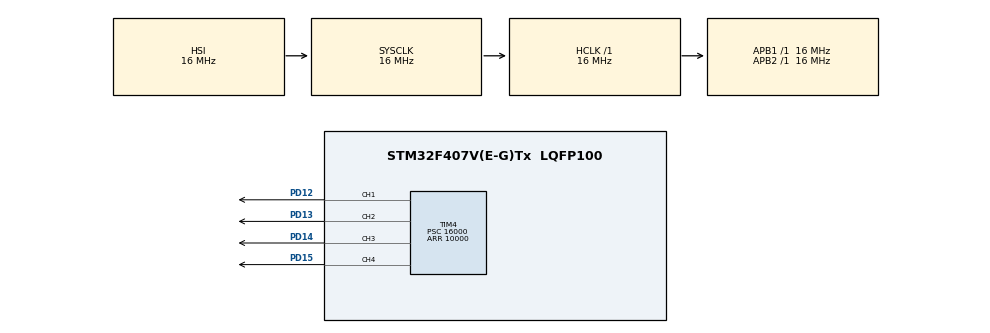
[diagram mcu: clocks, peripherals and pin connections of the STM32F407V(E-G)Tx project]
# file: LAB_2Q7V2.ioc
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Mcu.Family=STM32F4
Mcu.Name=STM32F407V(E-G)Tx
Mcu.Package=LQFP100
NVIC.PriorityGroup=NVIC_PRIORITYGROUP_4
NVIC.TIM4_IRQn=true\:0\:0\:false\:false\:true\:true\:true\:true
PD12.Signal=S_TIM4_CH1
PD13.Signal=S_TIM4_CH2
PD14.Signal=S_TIM4_CH3
PD15.Signal=S_TIM4_CH4
ProjectManager.HeapSize=0x200
ProjectManager.StackSize=0x400
ProjectManager.TargetToolchain=STM32CubeIDE
RCC.AHBFreq_Value=16000000
RCC.APB1Freq_Value=16000000
RCC.APB2Freq_Value=16000000
RCC.CortexFreq_Value=16000000
RCC.HSE_VALUE=25000000
RCC.HSI_VALUE=16000000
RCC.LSE_VALUE=32768
RCC.SYSCLKFreq_VALUE=16000000
RCC.VCOOutputFreq_Value=192000000
SH.S_TIM4_CH1.0=TIM4_CH1,Output Compare1 CH1
SH.S_TIM4_CH2.0=TIM4_CH2,Output Compare2 CH2
SH.S_TIM4_CH3.0=TIM4_CH3,Output Compare3 CH3
SH.S_TIM4_CH4.0=TIM4_CH4,Output Compare4 CH4
TIM4.Channel-Output\ Compare1\ CH1=TIM_CHANNEL_1
TIM4.Channel-Output\ Compare2\ CH2=TIM_CHANNEL_2
TIM4.Channel-Output\ Compare3\ CH3=TIM_CHANNEL_3
TIM4.Channel-Output\ Compare4\ CH4=TIM_CHANNEL_4
TIM4.OCMode_1=TIM_OCMODE_TOGGLE
TIM4.OCMode_2=TIM_OCMODE_TOGGLE
TIM4.OCMode_3=TIM_OCMODE_TOGGLE
TIM4.OCMode_4=TIM_OCMODE_TOGGLE
TIM4.Period=10000
TIM4.Prescaler=16000
TIM4.Pulse-Output\ Compare1\ CH1=250
TIM4.Pulse-Output\ Compare2\ CH2=500
TIM4.Pulse-Output\ Compare3\ CH3=750
TIM4.Pulse-Output\ Compare4\ CH4=1000
TIM4.TIM_MasterOutputTrigger=TIM_TRGO_OC1
VP_TIM4_VS_ClockSourceINT.Mode=Internal
board=custom

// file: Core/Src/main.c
/* USER CODE BEGIN Header */
/**
  ******************************************************************************
  * @file           : main.c
  * @brief          : Main program body
  ******************************************************************************
  * @attention
  *
  * Copyright (c) 2026 STMicroelectronics.
  * All rights reserved.
  *
  * This software is licensed under terms that can be found in the LICENSE file
  * in the root directory of this software component.
  * If no LICENSE file comes with this software, it is provided AS-IS.
  *
  ******************************************************************************
  */
/* USER CODE END Header */
#include "main.h"

TIM_HandleTypeDef htim4;

/* USER CODE BEGIN PV */
volatile uint32_t pulse1_value = 250; //to produce 4Hz
volatile uint32_t pulse2_value = 500; //to produce 2HZ
volatile uint32_t pulse3_value = 750;  //to produce 1.33Hz
volatile uint32_t pulse4_value = 1000;  //to produce 1Hz
volatile uint32_t ccr_content;
/* USER CODE END PV */

void SystemClock_Config(void);
static void MX_GPIO_Init(void);
static void MX_TIM4_Init(void);

int main(void)
{

  /* MCU Configuration--------------------------------------------------------*/

  /* Reset of all peripherals, Initializes the Flash interface and the Systick. */
  HAL_Init();

  /* Configure the system clock */
  SystemClock_Config();

  /* Initialize all configured peripherals */
  MX_GPIO_Init();
  MX_TIM4_Init();
  /* USER CODE BEGIN 2 */
  HAL_TIM_OC_Start_IT(&htim4,TIM_CHANNEL_1);
  HAL_TIM_OC_Start_IT(&htim4,TIM_CHANNEL_2);
  HAL_TIM_OC_Start_IT(&htim4,TIM_CHANNEL_3);
  HAL_TIM_OC_Start_IT(&htim4,TIM_CHANNEL_4);
  /* USER CODE END 2 */

  /* Infinite loop */
  while (1)
  {

  }
}

void SystemClock_Config(void)
{
  RCC_OscInitTypeDef RCC_OscInitStruct = {0};
  RCC_ClkInitTypeDef RCC_ClkInitStruct = {0};

  /** Configure the main internal regulator output voltage
  */
  __HAL_RCC_PWR_CLK_ENABLE();
  __HAL_PWR_VOLTAGESCALING_CONFIG(PWR_REGULATOR_VOLTAGE_SCALE1);

  /** Initializes the RCC Oscillators according to the specified parameters
  * in the RCC_OscInitTypeDef structure.
  */
  RCC_OscInitStruct.OscillatorType = RCC_OSCILLATORTYPE_HSI;
  RCC_OscInitStruct.HSIState = RCC_HSI_ON;
  RCC_OscInitStruct.HSICalibrationValue = RCC_HSICALIBRATION_DEFAULT;
  RCC_OscInitStruct.PLL.PLLState = RCC_PLL_NONE;
  if (HAL_RCC_OscConfig(&RCC_OscInitStruct) != HAL_OK)
  {
    Error_Handler();
  }

  /** Initializes the CPU, AHB and APB buses clocks
  */
  RCC_ClkInitStruct.ClockType = RCC_CLOCKTYPE_HCLK|RCC_CLOCKTYPE_SYSCLK
                              |RCC_CLOCKTYPE_PCLK1|RCC_CLOCKTYPE_PCLK2;
  RCC_ClkInitStruct.SYSCLKSource = RCC_SYSCLKSOURCE_HSI;
  RCC_ClkInitStruct.AHBCLKDivider = RCC_SYSCLK_DIV1;
  RCC_ClkInitStruct.APB1CLKDivider = RCC_HCLK_DIV1;
  RCC_ClkInitStruct.APB2CLKDivider = RCC_HCLK_DIV1;

  if (HAL_RCC_ClockConfig(&RCC_ClkInitStruct, FLASH_LATENCY_0) != HAL_OK)
  {
    Error_Handler();
  }
}

static void MX_TIM4_Init(void)
{

  TIM_ClockConfigTypeDef sClockSourceConfig = {0};
  TIM_MasterConfigTypeDef sMasterConfig = {0};
  TIM_OC_InitTypeDef sConfigOC = {0};

  htim4.Instance = TIM4;
  htim4.Init.Prescaler = 16000;
  htim4.Init.CounterMode = TIM_COUNTERMODE_UP;
  htim4.Init.Period = 10000;
  htim4.Init.ClockDivision = TIM_CLOCKDIVISION_DIV1;
  htim4.Init.AutoReloadPreload = TIM_AUTORELOAD_PRELOAD_DISABLE;
  if (HAL_TIM_Base_Init(&htim4) != HAL_OK)
  {
    Error_Handler();
  }
  sClockSourceConfig.ClockSource = TIM_CLOCKSOURCE_INTERNAL;
  if (HAL_TIM_ConfigClockSource(&htim4, &sClockSourceConfig) != HAL_OK)
  {
    Error_Handler();
  }
  if (HAL_TIM_OC_Init(&htim4) != HAL_OK)
  {
    Error_Handler();
  }
  sMasterConfig.MasterOutputTrigger = TIM_TRGO_OC1;
  sMasterConfig.MasterSlaveMode = TIM_MASTERSLAVEMODE_DISABLE;
  if (HAL_TIMEx_MasterConfigSynchronization(&htim4, &sMasterConfig) != HAL_OK)
  {
    Error_Handler();
  }
  sConfigOC.OCMode = TIM_OCMODE_TOGGLE;
  sConfigOC.Pulse = 250;
  sConfigOC.OCPolarity = TIM_OCPOLARITY_HIGH;
  sConfigOC.OCFastMode = TIM_OCFAST_DISABLE;
  if (HAL_TIM_OC_ConfigChannel(&htim4, &sConfigOC, TIM_CHANNEL_1) != HAL_OK)
  {
    Error_Handler();
  }
  sConfigOC.Pulse = 500;
  if (HAL_TIM_OC_ConfigChannel(&htim4, &sConfigOC, TIM_CHANNEL_2) != HAL_OK)
  {
    Error_Handler();
  }
  sConfigOC.Pulse = 750;
  if (HAL_TIM_OC_ConfigChannel(&htim4, &sConfigOC, TIM_CHANNEL_3) != HAL_OK)
  {
    Error_Handler();
  }
  sConfigOC.Pulse = 1000;
  if (HAL_TIM_OC_ConfigChannel(&htim4, &sConfigOC, TIM_CHANNEL_4) != HAL_OK)
  {
    Error_Handler();
  }
  HAL_TIM_MspPostInit(&htim4);

}

static void MX_GPIO_Init(void)
{

  /* GPIO Ports Clock Enable */
  __HAL_RCC_GPIOD_CLK_ENABLE();

}

/* USER CODE BEGIN 4 */
void HAL_TIM_OC_DelayElapsedCallback(TIM_HandleTypeDef *htim)
 {
   /* TIM3_CH1 toggling with frequency = 4 Hz */
   if(htim->Channel == HAL_TIM_ACTIVE_CHANNEL_1)
   {
       ccr_content = HAL_TIM_ReadCapturedValue(htim,TIM_CHANNEL_1);
       __HAL_TIM_SET_COMPARE(htim,TIM_CHANNEL_1,ccr_content+pulse1_value);
       //to update the compare values at 250,500,750,1000,1250,1500....10000
   }

   /* TIM3_CH2 toggling with frequency = 2 Hz */
   if(htim->Channel == HAL_TIM_ACTIVE_CHANNEL_2)
   {
       ccr_content = HAL_TIM_ReadCapturedValue(htim,TIM_CHANNEL_2);
       __HAL_TIM_SET_COMPARE(htim,TIM_CHANNEL_2,ccr_content+pulse2_value);
        //to update the compare values at 500,1000,1500,2000,2500,3000....10000
   }

   /* TIM3_CH3 toggling with frequency = 1.33 Hz */
   if(htim->Channel == HAL_TIM_ACTIVE_CHANNEL_3)
   {
       ccr_content = HAL_TIM_ReadCapturedValue(htim,TIM_CHANNEL_3);
       __HAL_TIM_SET_COMPARE(htim,TIM_CHANNEL_3,ccr_content+pulse3_value);
        //to update the compare values at 750,1500,2250,3000....10000
   }

   /* TIM3_CH4 toggling with frequency = 1 Hz */
   if(htim->Channel == HAL_TIM_ACTIVE_CHANNEL_4)
   {
        ccr_content = HAL_TIM_ReadCapturedValue(htim,TIM_CHANNEL_4);
       __HAL_TIM_SET_COMPARE(htim,TIM_CHANNEL_4,ccr_content+pulse4_value);
        //to update the compare values at 1000,2000,3000,4000....10000
   }
 }
/* USER CODE END 4 */

void Error_Handler(void)
{
  __disable_irq();
  while (1)
  {
  }
}
